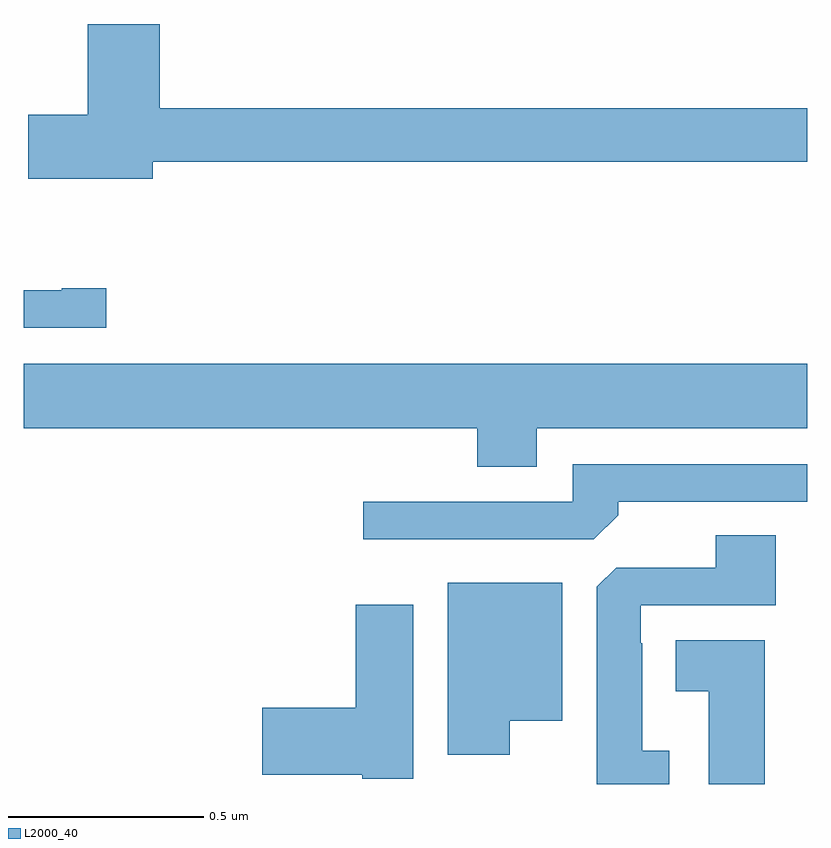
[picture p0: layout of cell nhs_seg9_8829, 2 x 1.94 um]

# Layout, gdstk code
import gdstk
lib = gdstk.Library(unit=1e-6, precision=1e-09)
def P(c, l, *ps):  # polygons
    for p in ps: c.add(gdstk.Polygon(p, *l))
L2000_40 = (2000, 40)

nhs_seg9_8829 = lib.new_cell('nhs_seg9_8829')
P(nhs_seg9_8829, L2000_40, [(222.33,1209.088),(224,1209.088),(224,1209.224),(222.347,1209.224),(222.347,1209.439),(222.164,1209.439),(222.164,1209.207),(222.012,1209.207),(222.012,1209.044),(222.33,1209.044)],
  [(222.211,1208.765),(222.098,1208.765),(222.098,1208.76),(222,1208.76),(222,1208.664),(222.211,1208.664)],
  [(223.309,1208.408),(224,1208.408),(224,1208.572),(222,1208.572),(222,1208.408),(223.157,1208.408),(223.157,1208.309),(223.309,1208.309)],
  [(223.517,1208.186),(223.517,1208.22),(224,1208.22),(224,1208.316),(223.401,1208.316),(223.401,1208.22),(222.867,1208.22),(222.867,1208.124),(223.455,1208.124)],
  [(223.648,1207.585),(223.579,1207.585),(223.579,1207.859),(223.575,1207.859),(223.575,1207.956),(223.919,1207.956),(223.919,1208.135),(223.766,1208.135),(223.766,1208.052),(223.512,1208.052),(223.463,1208.003),(223.463,1207.5),(223.648,1207.5)],
  [(223.24,1207.661),(223.375,1207.661),(223.375,1208.014),(223.082,1208.014),(223.082,1207.575),(223.24,1207.575)],
  [(222.994,1207.957),(222.848,1207.957),(222.848,1207.694),(222.609,1207.694),(222.609,1207.523),(222.864,1207.523),(222.864,1207.514),(222.994,1207.514)],
  [(223.891,1207.867),(223.664,1207.867),(223.664,1207.736),(223.748,1207.736),(223.748,1207.5),(223.891,1207.5)])

lib.write_gds('nhs_seg9_8829.gds')
